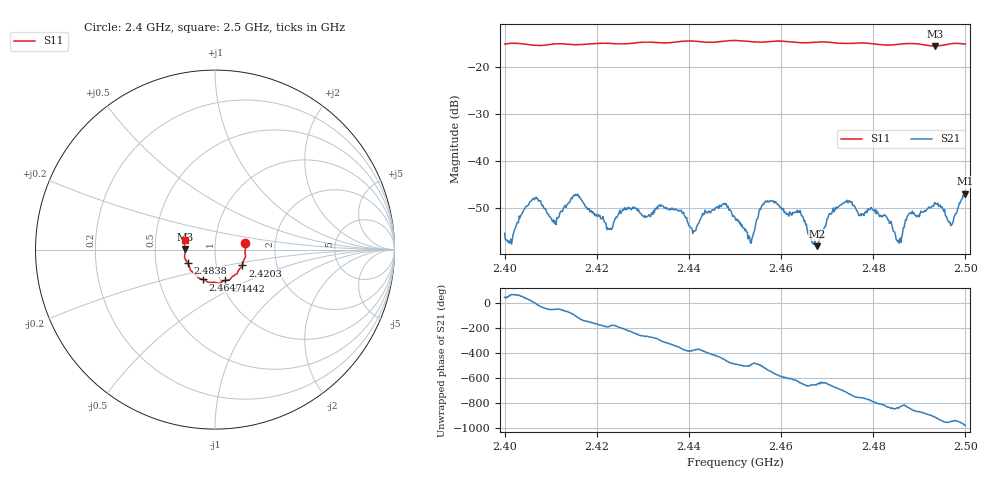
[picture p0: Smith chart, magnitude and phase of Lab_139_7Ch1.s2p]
# Hz S RI R 50
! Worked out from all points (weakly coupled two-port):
!   601 points, 2.4 GHz to 2.5 GHz, reference 50 ohm
!   highest |S21| = -46.99 dB at 2.5 GHz (marker M1); lowest = -58.2 dB at 2.4678 GHz (marker M2)
!   lowest |S11| = -15.6 dB at 2.4935 GHz (marker M3), VSWR 1.40, Z = 35.8 + j0.0933 ohm
!   |S11| at or under -10 dB: start of sweep to end of sweep
!   S12 and S22 are empty: the file has one direction only
!   S11 on the Smith chart (normalised r, x): 2.4 GHz: 1.40, +0.11; 2.4203 GHz: 1.34, -0.24; 2.4442 GHz: 1.06, -0.37; 2.4647 GHz: 0.83, -0.29; 2.4838 GHz: 0.73, -0.11; 2.5 GHz: 0.71, +0.08
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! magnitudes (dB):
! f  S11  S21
! 2.4 GHz  -15.2  -55.4
! 2.4063 GHz  -15.5  -48.1
! 2.4107 GHz  -15.2  -52.6
! 2.4167 GHz  -15.3  -48.3
! 2.4203 GHz  -15.1  -51.5
! 2.4333 GHz  -14.9  -49.6
! 2.441 GHz  -14.6  -54.9
! 2.4442 GHz  -14.8  -50.8
! 2.45 GHz  -14.5  -52.1
! 2.4533 GHz  -14.7  -57.4
! 2.4567 GHz  -14.8  -48.6
! 2.4647 GHz  -14.9  -51.8
! 2.4667 GHz  -14.9  -57.2
! 2.4678 GHz  -14.8  -58.2
! 2.4738 GHz  -15.1  -48.8
! 2.4833 GHz  -15.4  -52.6
! 2.4838 GHz  -15.4  -52.9
! 2.4857 GHz  -15.2  -57.5
! 2.488 GHz  -15.1  -51.2
! 2.4935 GHz  -15.6  -49.2
! 2.4968 GHz  -15.1  -53.8
! 2.5 GHz  -15.2  -47.0
